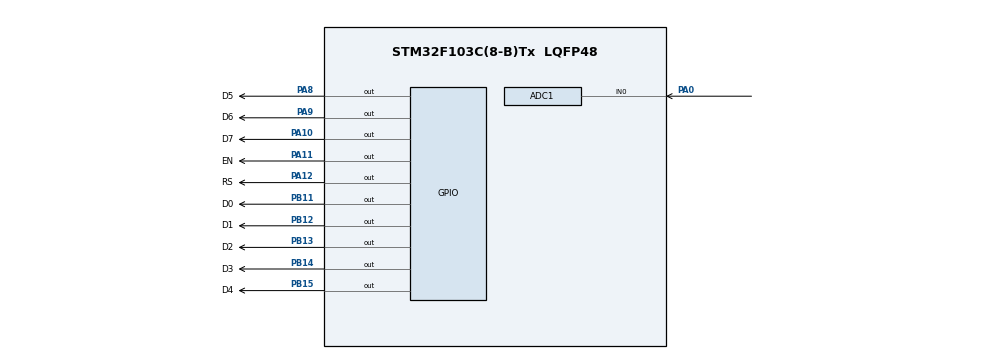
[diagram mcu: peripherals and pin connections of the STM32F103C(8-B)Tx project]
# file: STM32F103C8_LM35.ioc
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ADC1.Channel-0\#ChannelRegularConversion=ADC_CHANNEL_0
ADC1.ContinuousConvMode=ENABLE
ADC1.NbrOfConversionFlag=1
ADC1.Rank-0\#ChannelRegularConversion=1
ADC1.SamplingTime-0\#ChannelRegularConversion=ADC_SAMPLETIME_239CYCLES_5
ADC1.master=1
Mcu.Family=STM32F1
Mcu.Name=STM32F103C(8-B)Tx
Mcu.Package=LQFP48
NVIC.ADC1_2_IRQn=true\:0\:0\:false\:false\:true\:true\:true\:true
NVIC.PriorityGroup=NVIC_PRIORITYGROUP_4
PA0-WKUP.Signal=ADCx_IN0
PA10.GPIO_Label=D7
PA10.Signal=GPIO_Output
PA11.GPIO_Label=EN
PA11.Signal=GPIO_Output
PA12.GPIO_Label=RS
PA12.Signal=GPIO_Output
PA13.Mode=Serial_Wire
PA13.Signal=SYS_JTMS-SWDIO
PA14.Mode=Serial_Wire
PA14.Signal=SYS_JTCK-SWCLK
PA8.GPIO_Label=D5
PA8.Signal=GPIO_Output
PA9.GPIO_Label=D6
PA9.Signal=GPIO_Output
PB11.GPIO_Label=D0
PB11.Signal=GPIO_Output
PB12.GPIO_Label=D1
PB12.Signal=GPIO_Output
PB13.GPIO_Label=D2
PB13.Signal=GPIO_Output
PB14.GPIO_Label=D3
PB14.Signal=GPIO_Output
PB15.GPIO_Label=D4
PB15.Signal=GPIO_Output
ProjectManager.HeapSize=0x200
ProjectManager.StackSize=0x400
ProjectManager.TargetToolchain=MDK-ARM V5
RCC.APB1Freq_Value=8000000
RCC.APB2Freq_Value=8000000
SH.ADCx_IN0.0=ADC1_IN0,IN0
board=custom

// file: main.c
/* USER CODE BEGIN Header */
/**
  ******************************************************************************
  * @file           : main.c
  * @brief          : Main program body
  ******************************************************************************
  * @attention
  *
  * Copyright (c) 2022 STMicroelectronics.
  * All rights reserved.
  *
  * This software is licensed under terms that can be found in the LICENSE file
  * in the root directory of this software component.
  * If no LICENSE file comes with this software, it is provided AS-IS.
  *
  ******************************************************************************
  */
/* USER CODE END Header */
#include "main.h"

/* USER CODE BEGIN Includes */
#include "CLCD.h"
#include <stdio.h>
/* USER CODE END Includes */

ADC_HandleTypeDef hadc1;

/* USER CODE BEGIN PV */

CLCD_Name LCD1;
uint8_t sec = 0;
uint8_t min = 0;
uint8_t hour = 0;
char LCD_send[16];
char LCD_send2[16];
uint16_t adc_value;
float temp ;
//uint8_t Count;

/* USER CODE END PV */

void SystemClock_Config(void);
static void MX_GPIO_Init(void);
static void MX_ADC1_Init(void);
/* USER CODE BEGIN PFP */

 void HAL_ADC_ConvCpltCallback(ADC_HandleTypeDef* hadc)
 {if (hadc -> Instance == hadc1.Instance)
	{
	adc_value = HAL_ADC_GetValue(hadc);

	}
}

/* USER CODE END PFP */

int main(void)
{

  /* MCU Configuration--------------------------------------------------------*/

  /* Reset of all peripherals, Initializes the Flash interface and the Systick. */
  HAL_Init();

  /* Configure the system clock */
  SystemClock_Config();

  /* Initialize all configured peripherals */
  MX_GPIO_Init();
  MX_ADC1_Init();
  /* USER CODE BEGIN 2 */
CLCD_8BIT_Init(&LCD1, 16, 2, RS_GPIO_Port, RS_Pin, EN_GPIO_Port, EN_Pin,
								D0_GPIO_Port, D0_Pin, D1_GPIO_Port, D1_Pin,
								D2_GPIO_Port, D2_Pin, D3_GPIO_Port, D3_Pin,
								D4_GPIO_Port, D4_Pin, D5_GPIO_Port, D5_Pin,
								D6_GPIO_Port, D6_Pin, D7_GPIO_Port, D7_Pin);

HAL_ADC_Start_IT(&hadc1);

  /* USER CODE END 2 */

  /* Infinite loop */
  while (1)
  {

    /* USER CODE BEGIN 3 */
		//LM35
		temp = (adc_value * 150)/(1.5/3.3*4095);
		CLCD_SetCursor(&LCD1, 0, 0); // Den vi tri LCD cot, hang
		sprintf(LCD_send,"%.2f",temp);//tao chuoi co kem bien
		CLCD_WriteString(&LCD1, "Curr_Temp:"); // gui chuoi len LCD
		CLCD_WriteString(&LCD1, LCD_send);

		if(sec>59)
		{
			min = min+1;
			sec = 0;
		}
		if(min>59)
		{
			hour = hour+1;
			min = 0;
		}
		sec ++;
		// if GPIO pin = GPIO_pin 0 thi count = count ++, pin = pin6 thi cout = count--
		CLCD_SetCursor(&LCD1, 0, 1); // Den vi tri LCD cot, hang
		sprintf(LCD_send2,"%.2d:%.2d:%.2d",hour, min, sec);
		CLCD_WriteString(&LCD1, "Time:"); // gui chuoi len LCD
		CLCD_WriteString(&LCD1, LCD_send2);
		HAL_Delay(1000);

  }
  /* USER CODE END 3 */
}

void SystemClock_Config(void)
{
  RCC_OscInitTypeDef RCC_OscInitStruct = {0};
  RCC_ClkInitTypeDef RCC_ClkInitStruct = {0};
  RCC_PeriphCLKInitTypeDef PeriphClkInit = {0};

  /** Initializes the RCC Oscillators according to the specified parameters
  * in the RCC_OscInitTypeDef structure.
  */
  RCC_OscInitStruct.OscillatorType = RCC_OSCILLATORTYPE_HSI;
  RCC_OscInitStruct.HSIState = RCC_HSI_ON;
  RCC_OscInitStruct.HSICalibrationValue = RCC_HSICALIBRATION_DEFAULT;
  RCC_OscInitStruct.PLL.PLLState = RCC_PLL_NONE;
  if (HAL_RCC_OscConfig(&RCC_OscInitStruct) != HAL_OK)
  {
    Error_Handler();
  }

  /** Initializes the CPU, AHB and APB buses clocks
  */
  RCC_ClkInitStruct.ClockType = RCC_CLOCKTYPE_HCLK|RCC_CLOCKTYPE_SYSCLK
                              |RCC_CLOCKTYPE_PCLK1|RCC_CLOCKTYPE_PCLK2;
  RCC_ClkInitStruct.SYSCLKSource = RCC_SYSCLKSOURCE_HSI;
  RCC_ClkInitStruct.AHBCLKDivider = RCC_SYSCLK_DIV1;
  RCC_ClkInitStruct.APB1CLKDivider = RCC_HCLK_DIV1;
  RCC_ClkInitStruct.APB2CLKDivider = RCC_HCLK_DIV1;

  if (HAL_RCC_ClockConfig(&RCC_ClkInitStruct, FLASH_LATENCY_0) != HAL_OK)
  {
    Error_Handler();
  }
  PeriphClkInit.PeriphClockSelection = RCC_PERIPHCLK_ADC;
  PeriphClkInit.AdcClockSelection = RCC_ADCPCLK2_DIV2;
  if (HAL_RCCEx_PeriphCLKConfig(&PeriphClkInit) != HAL_OK)
  {
    Error_Handler();
  }
}

static void MX_ADC1_Init(void)
{

  ADC_ChannelConfTypeDef sConfig = {0};

  /** Common config
  */
  hadc1.Instance = ADC1;
  hadc1.Init.ScanConvMode = ADC_SCAN_DISABLE;
  hadc1.Init.ContinuousConvMode = ENABLE;
  hadc1.Init.DiscontinuousConvMode = DISABLE;
  hadc1.Init.ExternalTrigConv = ADC_SOFTWARE_START;
  hadc1.Init.DataAlign = ADC_DATAALIGN_RIGHT;
  hadc1.Init.NbrOfConversion = 1;
  if (HAL_ADC_Init(&hadc1) != HAL_OK)
  {
    Error_Handler();
  }

  /** Configure Regular Channel
  */
  sConfig.Channel = ADC_CHANNEL_0;
  sConfig.Rank = ADC_REGULAR_RANK_1;
  sConfig.SamplingTime = ADC_SAMPLETIME_239CYCLES_5;
  if (HAL_ADC_ConfigChannel(&hadc1, &sConfig) != HAL_OK)
  {
    Error_Handler();
  }

}

static void MX_GPIO_Init(void)
{
  GPIO_InitTypeDef GPIO_InitStruct = {0};

  /* GPIO Ports Clock Enable */
  __HAL_RCC_GPIOA_CLK_ENABLE();
  __HAL_RCC_GPIOB_CLK_ENABLE();

  /*Configure GPIO pin Output Level */
  HAL_GPIO_WritePin(GPIOB, D0_Pin|D1_Pin|D2_Pin|D3_Pin
                          |D4_Pin, GPIO_PIN_RESET);

  /*Configure GPIO pin Output Level */
  HAL_GPIO_WritePin(GPIOA, D5_Pin|D6_Pin|D7_Pin|EN_Pin
                          |RS_Pin, GPIO_PIN_RESET);

  /*Configure GPIO pins : D0_Pin D1_Pin D2_Pin D3_Pin
                           D4_Pin */
  GPIO_InitStruct.Pin = D0_Pin|D1_Pin|D2_Pin|D3_Pin
                          |D4_Pin;
  GPIO_InitStruct.Mode = GPIO_MODE_OUTPUT_PP;
  GPIO_InitStruct.Pull = GPIO_NOPULL;
  GPIO_InitStruct.Speed = GPIO_SPEED_FREQ_LOW;
  HAL_GPIO_Init(GPIOB, &GPIO_InitStruct);

  /*Configure GPIO pins : D5_Pin D6_Pin D7_Pin EN_Pin
                           RS_Pin */
  GPIO_InitStruct.Pin = D5_Pin|D6_Pin|D7_Pin|EN_Pin
                          |RS_Pin;
  GPIO_InitStruct.Mode = GPIO_MODE_OUTPUT_PP;
  GPIO_InitStruct.Pull = GPIO_NOPULL;
  GPIO_InitStruct.Speed = GPIO_SPEED_FREQ_LOW;
  HAL_GPIO_Init(GPIOA, &GPIO_InitStruct);

}

void Error_Handler(void)
{
  __disable_irq();
  while (1)
  {
  }
}
